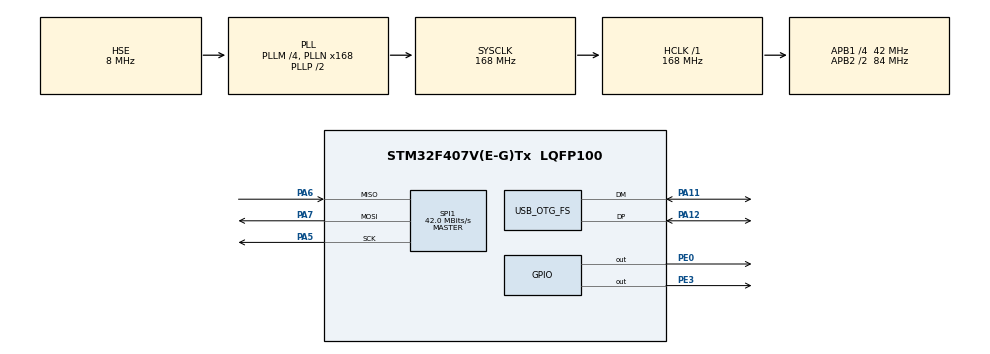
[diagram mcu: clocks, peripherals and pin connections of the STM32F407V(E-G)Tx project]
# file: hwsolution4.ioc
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EdgeImpulse.gsahinp-project-1.1.0.2.MachineLearningCcgsahinpAaprojectAa1JjCore=true
Mcu.Family=STM32F4
Mcu.Name=STM32F407V(E-G)Tx
Mcu.Package=LQFP100
NVIC.OTG_FS_IRQn=true\:0\:0\:false\:false\:true\:false\:true\:true
NVIC.PriorityGroup=NVIC_PRIORITYGROUP_4
PA11.Mode=Device_Only
PA11.Signal=USB_OTG_FS_DM
PA12.Mode=Device_Only
PA12.Signal=USB_OTG_FS_DP
PA13.Mode=Trace_Asynchronous_SW
PA13.Signal=SYS_JTMS-SWDIO
PA14.Mode=Trace_Asynchronous_SW
PA14.Signal=SYS_JTCK-SWCLK
PA5.Mode=Full_Duplex_Master
PA5.Signal=SPI1_SCK
PA6.Mode=Full_Duplex_Master
PA6.Signal=SPI1_MISO
PA7.Mode=Full_Duplex_Master
PA7.Signal=SPI1_MOSI
PB3.Mode=Trace_Asynchronous_SW
PB3.Signal=SYS_JTDO-SWO
PE0.Signal=GPIO_Output
PE3.Signal=GPIO_Output
PH0-OSC_IN.Mode=HSE-External-Oscillator
PH0-OSC_IN.Signal=RCC_OSC_IN
PH1-OSC_OUT.Mode=HSE-External-Oscillator
PH1-OSC_OUT.Signal=RCC_OSC_OUT
ProjectManager.HeapSize=0x200
ProjectManager.StackSize=0x400
ProjectManager.TargetToolchain=STM32CubeIDE
RCC.48MHZClocksFreq_Value=48000000
RCC.AHBFreq_Value=168000000
RCC.APB1CLKDivider=RCC_HCLK_DIV4
RCC.APB1Freq_Value=42000000
RCC.APB1TimFreq_Value=84000000
RCC.APB2CLKDivider=RCC_HCLK_DIV2
RCC.APB2Freq_Value=84000000
RCC.APB2TimFreq_Value=168000000
RCC.CortexFreq_Value=168000000
RCC.HCLKFreq_Value=168000000
RCC.HSE_VALUE=8000000
RCC.HSI_VALUE=16000000
RCC.LSE_VALUE=32768
RCC.PLLM=4
RCC.PLLN=168
RCC.PLLQ=7
RCC.SYSCLKFreq_VALUE=168000000
RCC.SYSCLKSource=RCC_SYSCLKSOURCE_PLLCLK
RCC.VCOOutputFreq_Value=336000000
SPI1.CalculateBaudRate=42.0 MBits/s
SPI1.Direction=SPI_DIRECTION_2LINES
SPI1.Mode=SPI_MODE_MASTER
SPI1.VirtualType=VM_MASTER
USB_DEVICE.CLASS_NAME_FS=CDC
USB_DEVICE.VirtualMode-CDC_FS=Cdc
USB_DEVICE.VirtualModeFS=Cdc_FS
USB_OTG_FS.VirtualMode=Device_Only
VP_CRC_VS_CRC.Mode=CRC_Activate
VP_EdgeImpulse.gsahinp-project-1_VS_gsahinpAaprojectAa1JjMachineLearning_1.0.2_1.0.2.Mode=gsahinpAaprojectAa1JjMachineLearning
VP_USB_DEVICE_VS_USB_DEVICE_CDC_FS.Mode=CDC_FS
board=custom

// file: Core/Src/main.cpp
/* USER CODE BEGIN Header */
/**
  ******************************************************************************
  * @file           : main.c
  * @brief          : Main program body
  ******************************************************************************
  * @attention
  *
  * Copyright (c) 2022 STMicroelectronics.
  * All rights reserved.
  *
  * This software is licensed under terms that can be found in the LICENSE file
  * in the root directory of this software component.
  * If no LICENSE file comes with this software, it is provided AS-IS.
  *
  ******************************************************************************
  */
/* USER CODE END Header */
#include "main.h"
#include "usb_device.h"

/* USER CODE BEGIN Includes */
#include "usbd_cdc_if.h"
#include "string.h"
#include "MY_LIS3DSH.h"
#include <stdio.h>
#include <stdarg.h>
#include "edge-impulse-sdk/classifier/ei_run_classifier.h"

void vprint(const char *fmt, va_list argp)
{
    char string[200];
    if(0 < vsprintf(string, fmt, argp)) // build string
    {
        //HAL_UART_Transmit(&huart1, (uint8_t*)string, strlen(string), 0xffffff); // send message via UART
    	 CDC_Transmit_FS((uint8_t*)string, strlen(string));
    }
}

void ei_printf(const char *format, ...) {
    va_list myargs;
    va_start(myargs, format);
    vprint(format, myargs);
    va_end(myargs);
}
using namespace ei;

// paste the raw features here
static const float features[] = {
		-30.6000, -0.2400, 485.4000, -1.3200, -1.3200, 484.9200, -0.4800, -0.1200, 485.8800, -0.1200, -0.2400, 486.2400, -0.7200, -0.3600, 485.8800, -0.4800, -1.3200, 484.5600
};

int get_feature_data(size_t offset, size_t length, float *out_ptr) {
    memcpy(out_ptr, features + offset, length * sizeof(float));
    return 0;
}
/* USER CODE END Includes */

/* USER CODE BEGIN PTD */
//uint8_t sendbuffer[]="Hello world\n";
LIS3DSH_InitTypeDef myAccConfigDef;
/* USER CODE END PTD */

 CRC_HandleTypeDef hcrc;

SPI_HandleTypeDef hspi1;

void SystemClock_Config(void);
static void MX_GPIO_Init(void);
static void MX_SPI1_Init(void);
static void MX_CRC_Init(void);

/* USER CODE BEGIN 0 */
    char *comma = ",";
	char *end = " \n";
	char *message[500] = {};
    char * recivebuffer[64];
/* USER CODE END 0 */

int main(void)
{

  /* MCU Configuration--------------------------------------------------------*/

  /* Reset of all peripherals, Initializes the Flash interface and the Systick. */
  HAL_Init();

  /* Configure the system clock */
  SystemClock_Config();

  /* Initialize all configured peripherals */
  MX_GPIO_Init();
  MX_USB_DEVICE_Init();
  MX_SPI1_Init();
  MX_CRC_Init();
  /* USER CODE BEGIN 2 */
  myAccConfigDef.dataRate = LIS3DSH_DATARATE_25;
  	myAccConfigDef.fullScale = LIS3DSH_FULLSCALE_4;
  	myAccConfigDef.antiAliasingBW = LIS3DSH_FILTER_BW_50;//update rate
  	myAccConfigDef.enableAxes = LIS3DSH_XYZ_ENABLE;
  	myAccConfigDef.interruptEnable = false;
  	LIS3DSH_Init(&hspi1, &myAccConfigDef);
  	LIS3DSH_DataScaled myscaledata;
  /* USER CODE END 2 */
  	signal_t signal;
  	signal.total_length = sizeof(features) / sizeof(features[0]);
  	signal.get_data = &get_feature_data;
  /* Infinite loop */
  /* USER CODE BEGIN WHILE */
  while (1)
  {
	  ei_impulse_result_t result = { 0 };
	      EI_IMPULSE_ERROR res = run_classifier(&signal, &result, true);
	      ei_printf("run_classifier returned: %d\n", res);

	      ei_printf("Predictions (DSP: %d ms., Classification: %d ms., Anomaly: %d ms.): \n",
	          result.timing.dsp, result.timing.classification, result.timing.anomaly);

	      // print the predictions
	      ei_printf("[");
	      for (size_t ix = 0; ix < EI_CLASSIFIER_LABEL_COUNT; ix++) {
	    	  ei_printf_float(result.classification[ix].value);
	  #if EI_CLASSIFIER_HAS_ANOMALY == 1
	          ei_printf(", ");
	  #else
	          if (ix != EI_CLASSIFIER_LABEL_COUNT - 1) {
	              ei_printf(", ");
	          }
	  #endif
	      }
	  #if EI_CLASSIFIER_HAS_ANOMALY == 1
	      ei_printf_float(result.anomaly);
	  #endif
	      ei_printf("]\n\n\n");

	    HAL_Delay(5000);
	 			  	    {
	     /* USER CODE END WHILE */

	 			  	    }
  }
}

void SystemClock_Config(void)
{
  RCC_OscInitTypeDef RCC_OscInitStruct = {0};
  RCC_ClkInitTypeDef RCC_ClkInitStruct = {0};

  /** Configure the main internal regulator output voltage
  */
  __HAL_RCC_PWR_CLK_ENABLE();
  __HAL_PWR_VOLTAGESCALING_CONFIG(PWR_REGULATOR_VOLTAGE_SCALE1);

  /** Initializes the RCC Oscillators according to the specified parameters
  * in the RCC_OscInitTypeDef structure.
  */
  RCC_OscInitStruct.OscillatorType = RCC_OSCILLATORTYPE_HSE;
  RCC_OscInitStruct.HSEState = RCC_HSE_ON;
  RCC_OscInitStruct.PLL.PLLState = RCC_PLL_ON;
  RCC_OscInitStruct.PLL.PLLSource = RCC_PLLSOURCE_HSE;
  RCC_OscInitStruct.PLL.PLLM = 4;
  RCC_OscInitStruct.PLL.PLLN = 168;
  RCC_OscInitStruct.PLL.PLLP = RCC_PLLP_DIV2;
  RCC_OscInitStruct.PLL.PLLQ = 7;
  if (HAL_RCC_OscConfig(&RCC_OscInitStruct) != HAL_OK)
  {
    Error_Handler();
  }

  /** Initializes the CPU, AHB and APB buses clocks
  */
  RCC_ClkInitStruct.ClockType = RCC_CLOCKTYPE_HCLK|RCC_CLOCKTYPE_SYSCLK
                              |RCC_CLOCKTYPE_PCLK1|RCC_CLOCKTYPE_PCLK2;
  RCC_ClkInitStruct.SYSCLKSource = RCC_SYSCLKSOURCE_PLLCLK;
  RCC_ClkInitStruct.AHBCLKDivider = RCC_SYSCLK_DIV1;
  RCC_ClkInitStruct.APB1CLKDivider = RCC_HCLK_DIV4;
  RCC_ClkInitStruct.APB2CLKDivider = RCC_HCLK_DIV2;

  if (HAL_RCC_ClockConfig(&RCC_ClkInitStruct, FLASH_LATENCY_5) != HAL_OK)
  {
    Error_Handler();
  }
}

static void MX_CRC_Init(void)
{

  hcrc.Instance = CRC;
  if (HAL_CRC_Init(&hcrc) != HAL_OK)
  {
    Error_Handler();
  }

}

static void MX_SPI1_Init(void)
{

  /* SPI1 parameter configuration*/
  hspi1.Instance = SPI1;
  hspi1.Init.Mode = SPI_MODE_MASTER;
  hspi1.Init.Direction = SPI_DIRECTION_2LINES;
  hspi1.Init.DataSize = SPI_DATASIZE_8BIT;
  hspi1.Init.CLKPolarity = SPI_POLARITY_LOW;
  hspi1.Init.CLKPhase = SPI_PHASE_1EDGE;
  hspi1.Init.NSS = SPI_NSS_SOFT;
  hspi1.Init.BaudRatePrescaler = SPI_BAUDRATEPRESCALER_2;
  hspi1.Init.FirstBit = SPI_FIRSTBIT_MSB;
  hspi1.Init.TIMode = SPI_TIMODE_DISABLE;
  hspi1.Init.CRCCalculation = SPI_CRCCALCULATION_DISABLE;
  hspi1.Init.CRCPolynomial = 10;
  if (HAL_SPI_Init(&hspi1) != HAL_OK)
  {
    Error_Handler();
  }

}

static void MX_GPIO_Init(void)
{
  GPIO_InitTypeDef GPIO_InitStruct = {0};

  /* GPIO Ports Clock Enable */
  __HAL_RCC_GPIOE_CLK_ENABLE();
  __HAL_RCC_GPIOH_CLK_ENABLE();
  __HAL_RCC_GPIOA_CLK_ENABLE();
  __HAL_RCC_GPIOB_CLK_ENABLE();

  /*Configure GPIO pin Output Level */
  HAL_GPIO_WritePin(GPIOE, GPIO_PIN_3|GPIO_PIN_0, GPIO_PIN_RESET);

  /*Configure GPIO pins : PE3 PE0 */
  GPIO_InitStruct.Pin = GPIO_PIN_3|GPIO_PIN_0;
  GPIO_InitStruct.Mode = GPIO_MODE_OUTPUT_PP;
  GPIO_InitStruct.Pull = GPIO_NOPULL;
  GPIO_InitStruct.Speed = GPIO_SPEED_FREQ_LOW;
  HAL_GPIO_Init(GPIOE, &GPIO_InitStruct);

}

void Error_Handler(void)
{
  __disable_irq();
  while (1)
  {
  }
}
